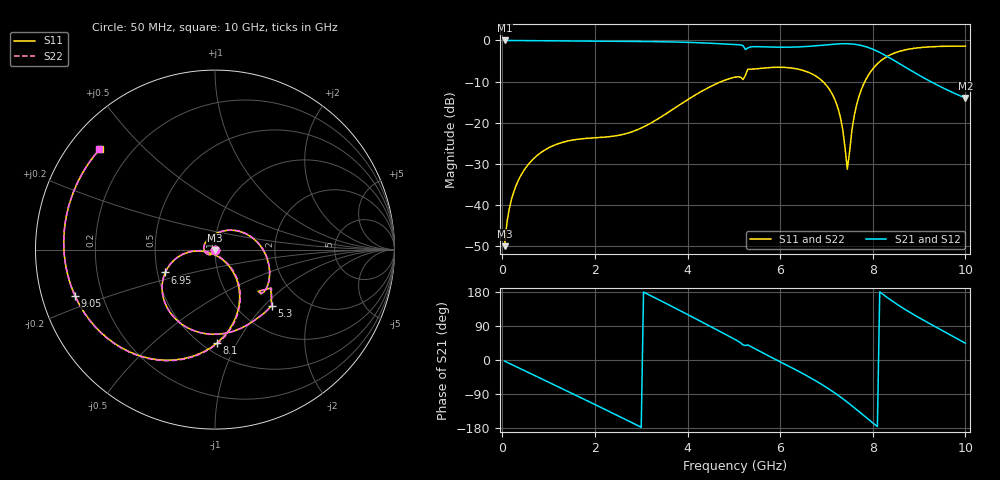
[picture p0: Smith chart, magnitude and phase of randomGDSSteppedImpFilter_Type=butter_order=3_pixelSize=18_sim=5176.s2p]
! freq	dB(S11)	phase(S11)	dB(S12)	phase(S12)
!  dB(S21)	phase(S21)	dB(S22)	phase(S22)
!S-par simulation data
#  GHz  S  DB  R 50
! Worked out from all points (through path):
!   200 points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, 50 MHz to 10 GHz, reference 50 ohm
!   highest |S21| = 0.00 dB at 50 MHz (marker M1); lowest = -14.0 dB at 10 GHz (marker M2)
!   group delay of S21, straight-line fit = 188 ps
!   lowest |S11| = -50.0 dB at 50 MHz (marker M3), VSWR 1.01, Z = 50 - j0.315 ohm
!   |S11| at or under -10 dB: start of sweep to 4.732 GHz; 6.922 GHz to 7.83 GHz (908.3 MHz wide, 12.3 % of centre)
!   |S22| runs from -50.1 to -1.4 dB; largest |S21 - S12| = 0
!   S11 on the Smith chart (normalised r, x): 50 MHz: 1.00, -0.01; 5.3 GHz: 1.42, -1.10; 6.95 GHz: 0.55, -0.15; 8.1 GHz: 0.58, -0.83; 9.05 GHz: 0.10, -0.16; 10 GHz: 0.09, +0.37
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0.05  -50.04 -91.1  -0.00 -3.0  -0.00 -3.0  -50.08 -91.2
0.2  -38.59 -100.4  -0.02 -11.8  -0.02 -11.8  -38.58 -100.4
0.5  -31.08 -119.5  -0.04 -29.3  -0.04 -29.3  -31.08 -119.5
1.15  -25.35 -158.8  -0.09 -67.4  -0.09 -67.4  -25.35 -158.6
1.75  -23.89 165.3  -0.14 -102.7  -0.14 -102.7  -23.89 165.5
2.65  -22.73 110.8  -0.21 -156.3  -0.21 -156.3  -22.73 111.4
3.4  -18.81 65.2  -0.31 157.8  -0.31 157.8  -18.82 65.9
4.25  -12.72 12.7  -0.56 104.2  -0.56 104.2  -12.72 13.2
5.05  -8.88 -37.9  -1.02 52.4  -1.02 52.4  -8.88 -37.4
5.3  -7.05 -44.8  -1.85 39.8  -1.85 39.8  -7.03 -44.6
5.95  -6.52 -91.2  -1.64 -1.6  -1.64 -1.6  -6.52 -91.0
6.7  -8.21 -138.4  -1.37 -50.1  -1.37 -50.1  -8.21 -138.3
6.95  -10.31 -155.3  -1.12 -68.4  -1.12 -68.4  -10.31 -155.4
7.3  -18.64 -175.8  -0.81 -97.4  -0.81 -97.4  -18.69 -176.6
7.45  -31.33 -121.2  -0.80 -111.3  -0.80 -111.3  -32.19 -121.3
7.55  -21.79 -51.1  -0.86 -120.9  -0.86 -120.9  -21.86 -48.9
7.65  -15.70 -51.1  -1.00 -130.8  -1.00 -130.8  -15.71 -49.8
8.1  -5.68 -88.7  -2.64 -175.7  -2.64 -175.7  -5.67 -88.1
8.35  -3.66 -110.4  -4.14 161.5  -4.14 161.5  -3.66 -109.8
9.05  -1.71 -161.5  -8.78 108.1  -8.78 108.1  -1.71 -161.0
9.5  -1.43 169.8  -11.45 77.9  -11.45 77.9  -1.43 170.3
10  -1.39 138.6  -14.02 44.2  -14.02 44.2  -1.39 139.1
